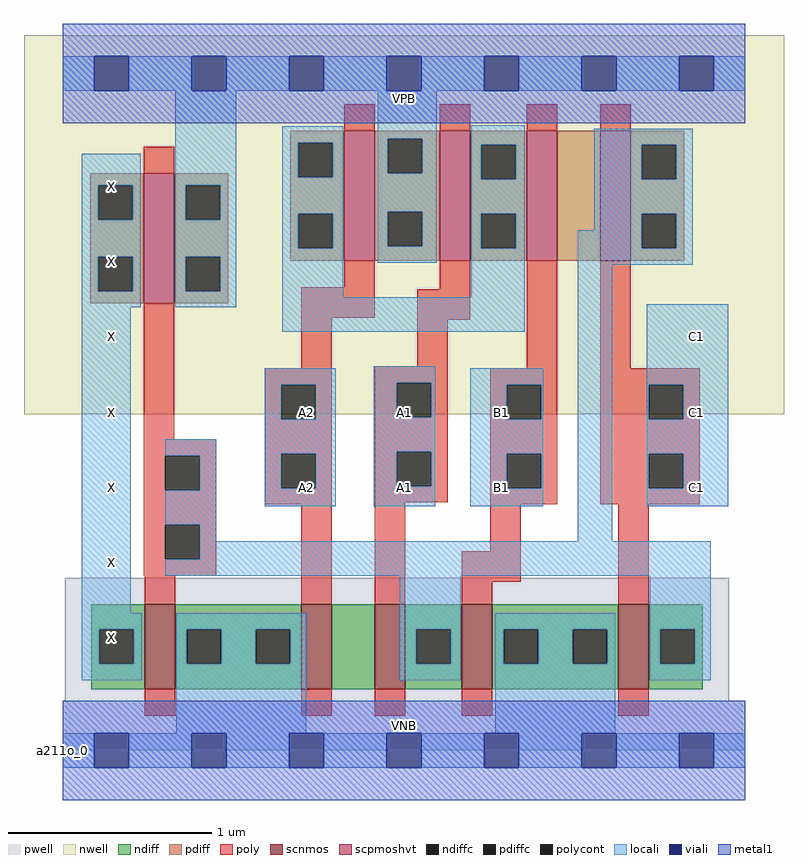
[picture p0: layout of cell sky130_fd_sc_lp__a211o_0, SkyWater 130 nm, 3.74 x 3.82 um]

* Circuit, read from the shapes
.subckt sky130_fd_sc_lp__a211o_0 A1 A2 B1 C1 VGND VNB VPB VPWR X
XM1 VGND n1 X VNB sky130_fd_pr__nfet_01v8 w=0.42 l=0.15
XM2 n2 A2 VGND VNB sky130_fd_pr__nfet_01v8 w=0.42 l=0.15
XM3 n1 A1 n2 VNB sky130_fd_pr__nfet_01v8 w=0.42 l=0.15
XM4 VGND B1 n1 VNB sky130_fd_pr__nfet_01v8 w=0.42 l=0.15
XM5 n1 C1 VGND VNB sky130_fd_pr__nfet_01v8 w=0.42 l=0.15
XM6 VPWR n1 X VPB sky130_fd_pr__pfet_01v8_hvt w=0.64 l=0.15
XM7 VPWR A2 n3 VPB sky130_fd_pr__pfet_01v8_hvt w=0.64 l=0.15
XM8 n3 A1 VPWR VPB sky130_fd_pr__pfet_01v8_hvt w=0.64 l=0.15
XM9 n4 B1 n3 VPB sky130_fd_pr__pfet_01v8_hvt w=0.64 l=0.15
XM10 n1 C1 n4 VPB sky130_fd_pr__pfet_01v8_hvt w=0.64 l=0.15
.ends

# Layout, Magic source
magic
tech sky130A
magscale 1 2
<< nwell >>
rect -38 331 710 704
<< pwell >>
rect 2 49 656 170
rect 0 0 672 49
<< scnmos >>
rect 81 60 111 144
rect 235 60 265 144
rect 307 60 337 144
rect 393 60 423 144
rect 547 60 577 144
<< scpmoshvt >>
rect 80 440 110 568
rect 277 482 307 610
rect 371 482 401 610
rect 457 482 487 610
rect 529 482 559 610
<< ndiff >>
rect 28 119 81 144
rect 28 85 36 119
rect 70 85 81 119
rect 28 60 81 85
rect 111 119 235 144
rect 111 85 122 119
rect 156 85 190 119
rect 224 85 235 119
rect 111 60 235 85
rect 265 60 307 144
rect 337 119 393 144
rect 337 85 348 119
rect 382 85 393 119
rect 337 60 393 85
rect 423 119 547 144
rect 423 85 434 119
rect 468 85 502 119
rect 536 85 547 119
rect 423 60 547 85
rect 577 119 630 144
rect 577 85 588 119
rect 622 85 630 119
rect 577 60 630 85
<< pdiff >>
rect 224 598 277 610
rect 27 556 80 568
rect 27 522 35 556
rect 69 522 80 556
rect 27 486 80 522
rect 27 452 35 486
rect 69 452 80 486
rect 27 440 80 452
rect 110 556 163 568
rect 110 522 121 556
rect 155 522 163 556
rect 110 486 163 522
rect 110 452 121 486
rect 155 452 163 486
rect 224 564 232 598
rect 266 564 277 598
rect 224 528 277 564
rect 224 494 232 528
rect 266 494 277 528
rect 224 482 277 494
rect 307 602 371 610
rect 307 568 320 602
rect 354 568 371 602
rect 307 530 371 568
rect 307 496 320 530
rect 354 496 371 530
rect 307 482 371 496
rect 401 596 457 610
rect 401 562 412 596
rect 446 562 457 596
rect 401 528 457 562
rect 401 494 412 528
rect 446 494 457 528
rect 401 482 457 494
rect 487 482 529 610
rect 559 596 612 610
rect 559 562 570 596
rect 604 562 612 596
rect 559 528 612 562
rect 559 494 570 528
rect 604 494 612 528
rect 559 482 612 494
rect 110 440 163 452
<< ndiffc >>
rect 36 85 70 119
rect 122 85 156 119
rect 190 85 224 119
rect 348 85 382 119
rect 434 85 468 119
rect 502 85 536 119
rect 588 85 622 119
<< pdiffc >>
rect 35 522 69 556
rect 35 452 69 486
rect 121 522 155 556
rect 121 452 155 486
rect 232 564 266 598
rect 232 494 266 528
rect 320 568 354 602
rect 320 496 354 530
rect 412 562 446 596
rect 412 494 446 528
rect 570 562 604 596
rect 570 494 604 528
<< poly >>
rect 277 610 307 636
rect 371 610 401 636
rect 457 610 487 636
rect 529 610 559 636
rect 80 568 110 594
rect 277 456 307 482
rect 80 306 110 440
rect 235 426 307 456
rect 371 454 401 482
rect 235 376 265 426
rect 349 424 401 454
rect 349 378 379 424
rect 199 360 265 376
rect 199 326 215 360
rect 249 326 265 360
rect 80 290 151 306
rect 80 256 101 290
rect 135 256 151 290
rect 80 222 151 256
rect 199 292 265 326
rect 199 258 215 292
rect 249 258 265 292
rect 199 242 265 258
rect 80 188 101 222
rect 135 188 151 222
rect 80 172 151 188
rect 81 144 111 172
rect 235 144 265 242
rect 307 362 379 378
rect 457 376 487 482
rect 307 328 329 362
rect 363 328 379 362
rect 307 294 379 328
rect 307 260 329 294
rect 363 260 379 294
rect 307 244 379 260
rect 421 360 487 376
rect 421 326 437 360
rect 471 326 487 360
rect 421 292 487 326
rect 421 258 437 292
rect 471 258 487 292
rect 307 144 337 244
rect 421 242 487 258
rect 529 376 559 482
rect 529 360 627 376
rect 529 326 577 360
rect 611 326 627 360
rect 529 292 627 326
rect 529 258 577 292
rect 611 258 627 292
rect 529 242 627 258
rect 421 196 451 242
rect 393 166 451 196
rect 393 144 423 166
rect 547 144 577 242
rect 81 34 111 60
rect 235 34 265 60
rect 307 34 337 60
rect 393 34 423 60
rect 547 34 577 60
<< polycont >>
rect 215 326 249 360
rect 101 256 135 290
rect 215 258 249 292
rect 101 188 135 222
rect 329 328 363 362
rect 329 260 363 294
rect 437 326 471 360
rect 437 258 471 292
rect 577 326 611 360
rect 577 258 611 292
<< locali >>
rect 0 649 31 683
rect 65 649 127 683
rect 161 649 223 683
rect 257 649 319 683
rect 353 649 415 683
rect 449 649 511 683
rect 545 649 607 683
rect 641 649 672 683
rect 19 556 77 587
rect 19 522 35 556
rect 69 522 77 556
rect 19 486 77 522
rect 19 452 35 486
rect 69 452 77 486
rect 19 436 77 452
rect 111 556 171 649
rect 111 522 121 556
rect 155 522 171 556
rect 111 486 171 522
rect 111 452 121 486
rect 155 452 171 486
rect 111 436 171 452
rect 216 598 276 614
rect 216 564 232 598
rect 266 564 276 598
rect 216 528 276 564
rect 216 494 232 528
rect 266 494 276 528
rect 216 446 276 494
rect 310 602 368 649
rect 310 568 320 602
rect 354 568 368 602
rect 310 530 368 568
rect 310 496 320 530
rect 354 496 368 530
rect 310 480 368 496
rect 402 596 455 615
rect 402 562 412 596
rect 446 562 455 596
rect 402 528 455 562
rect 402 494 412 528
rect 446 494 455 528
rect 523 596 620 612
rect 523 562 570 596
rect 604 562 620 596
rect 523 528 620 562
rect 523 512 570 528
rect 402 446 455 494
rect 19 135 67 436
rect 216 412 455 446
rect 507 494 570 512
rect 604 494 620 528
rect 507 478 620 494
rect 199 360 269 376
rect 199 326 215 360
rect 249 326 269 360
rect 101 290 151 306
rect 135 256 151 290
rect 101 222 151 256
rect 199 292 269 326
rect 199 258 215 292
rect 249 258 269 292
rect 199 240 269 258
rect 306 362 367 378
rect 306 328 329 362
rect 363 328 367 362
rect 306 294 367 328
rect 306 260 329 294
rect 363 260 367 294
rect 306 240 367 260
rect 401 360 473 376
rect 401 326 437 360
rect 471 326 473 360
rect 401 292 473 326
rect 401 258 437 292
rect 471 258 473 292
rect 401 240 473 258
rect 135 206 151 222
rect 507 206 541 478
rect 575 360 655 439
rect 575 326 577 360
rect 611 326 655 360
rect 575 292 655 326
rect 575 258 577 292
rect 611 258 655 292
rect 575 240 655 258
rect 135 188 638 206
rect 101 172 638 188
rect 19 119 78 135
rect 19 85 36 119
rect 70 85 78 119
rect 19 69 78 85
rect 112 119 240 135
rect 112 85 122 119
rect 156 85 190 119
rect 224 85 240 119
rect 112 17 240 85
rect 332 119 392 172
rect 332 85 348 119
rect 382 85 392 119
rect 332 69 392 85
rect 426 119 544 135
rect 426 85 434 119
rect 468 85 502 119
rect 536 85 544 119
rect 426 17 544 85
rect 578 119 638 172
rect 578 85 588 119
rect 622 85 638 119
rect 578 69 638 85
rect 0 -17 31 17
rect 65 -17 127 17
rect 161 -17 223 17
rect 257 -17 319 17
rect 353 -17 415 17
rect 449 -17 511 17
rect 545 -17 607 17
rect 641 -17 672 17
<< viali >>
rect 31 649 65 683
rect 127 649 161 683
rect 223 649 257 683
rect 319 649 353 683
rect 415 649 449 683
rect 511 649 545 683
rect 607 649 641 683
rect 31 -17 65 17
rect 127 -17 161 17
rect 223 -17 257 17
rect 319 -17 353 17
rect 415 -17 449 17
rect 511 -17 545 17
rect 607 -17 641 17
<< metal1 >>
rect 0 683 672 715
rect 0 649 31 683
rect 65 649 127 683
rect 161 649 223 683
rect 257 649 319 683
rect 353 649 415 683
rect 449 649 511 683
rect 545 649 607 683
rect 641 649 672 683
rect 0 617 672 649
rect 0 17 672 49
rect 0 -17 31 17
rect 65 -17 127 17
rect 161 -17 223 17
rect 257 -17 319 17
rect 353 -17 415 17
rect 449 -17 511 17
rect 545 -17 607 17
rect 641 -17 672 17
rect 0 -49 672 -17
<< labels >>
flabel pwell s 0 0 672 49 0 FreeSans 200 0 0 0 VNB
port 6 nsew ground bidirectional
flabel nwell s 0 617 672 666 0 FreeSans 200 0 0 0 VPB
port 7 nsew power bidirectional
rlabel comment s 0 0 0 0 4 a211o_0
flabel metal1 s 0 617 672 666 0 FreeSans 340 0 0 0 VPWR
port 8 nsew power bidirectional
flabel metal1 s 0 0 672 49 0 FreeSans 340 0 0 0 VGND
port 5 nsew ground bidirectional
flabel locali s 319 242 353 276 0 FreeSans 340 0 0 0 A1
port 1 nsew signal input
flabel locali s 319 316 353 350 0 FreeSans 340 0 0 0 A1
port 1 nsew signal input
flabel locali s 223 242 257 276 0 FreeSans 340 0 0 0 A2
port 2 nsew signal input
flabel locali s 223 316 257 350 0 FreeSans 340 0 0 0 A2
port 2 nsew signal input
flabel locali s 415 242 449 276 0 FreeSans 340 0 0 0 B1
port 3 nsew signal input
flabel locali s 415 316 449 350 0 FreeSans 340 0 0 0 B1
port 3 nsew signal input
flabel locali s 607 242 641 276 0 FreeSans 340 0 0 0 C1
port 4 nsew signal input
flabel locali s 607 316 641 350 0 FreeSans 340 0 0 0 C1
port 4 nsew signal input
flabel locali s 607 390 641 424 0 FreeSans 340 0 0 0 C1
port 4 nsew signal input
flabel locali s 31 94 65 128 0 FreeSans 340 0 0 0 X
port 9 nsew signal output
flabel locali s 31 168 65 202 0 FreeSans 340 0 0 0 X
port 9 nsew signal output
flabel locali s 31 242 65 276 0 FreeSans 340 0 0 0 X
port 9 nsew signal output
flabel locali s 31 316 65 350 0 FreeSans 340 0 0 0 X
port 9 nsew signal output
flabel locali s 31 390 65 424 0 FreeSans 340 0 0 0 X
port 9 nsew signal output
flabel locali s 31 464 65 498 0 FreeSans 340 0 0 0 X
port 9 nsew signal output
flabel locali s 31 538 65 572 0 FreeSans 340 0 0 0 X
port 9 nsew signal output
<< properties >>
string LEFsite unit
string LEFclass CORE
string FIXED_BBOX 0 0 672 666
string GDS_FILE $PDKPATH/libs.ref/sky130_fd_sc_lp/gds/sky130_fd_sc_lp.gds
string LEFsymmetry X Y R90
string GDS_END 2185572
string GDS_START 2177766
<< end >>
